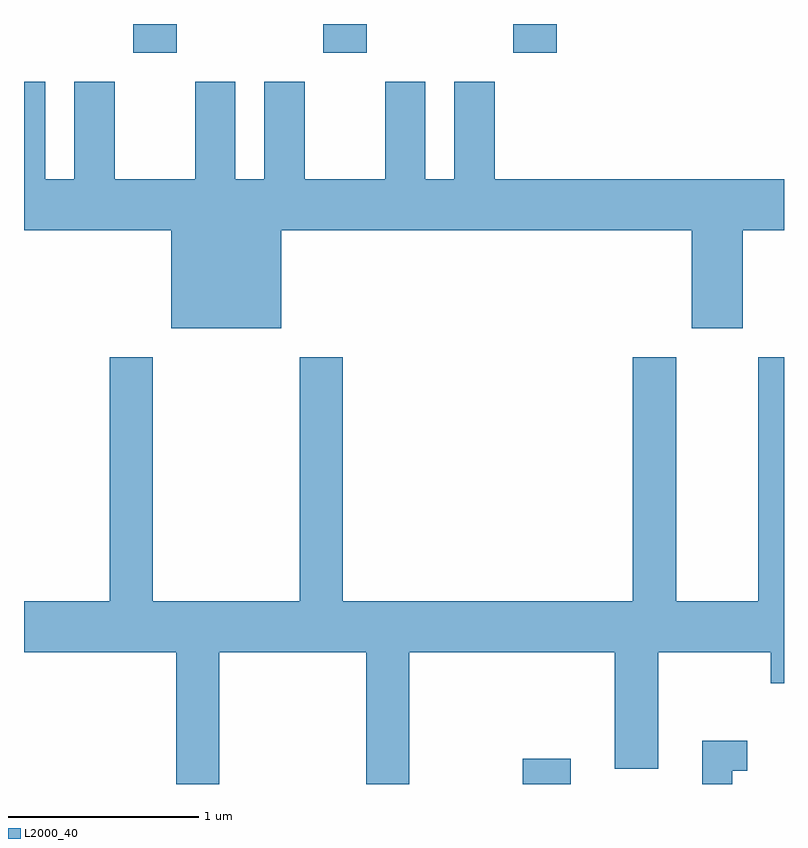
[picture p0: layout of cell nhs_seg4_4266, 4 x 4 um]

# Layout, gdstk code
import gdstk
lib = gdstk.Library(unit=1e-6, precision=1e-09)
def R(c, l, rs):  # rectangles x0, y0, x1, y1
    for r in rs: c.add(gdstk.rectangle(r[:2], r[2:], *l))
def A(c, l, x, y, w, h, nx, ny, dx, dy):  # array of equal rectangles
    R(c, l, [(x+i*dx, y+j*dy, x+i*dx+w, y+j*dy+h) for i in range(nx) for j in range(ny)])
def P(c, l, *ps):  # polygons
    for p in ps: c.add(gdstk.Polygon(p, *l))
L2000_40 = (2000, 40)

nhs_seg4_4266 = lib.new_cell('nhs_seg4_4266')
A(nhs_seg4_4266, L2000_40, 310.186, 1357.831, 0.228, 0.151, 3, 1, 1, 0)
R(nhs_seg4_4266, L2000_40, [(312.236,1353.982,312.489,1354.114)])
P(nhs_seg4_4266, L2000_40, [(310.964,1356.896),(313.126,1356.896),(313.126,1356.381),(313.394,1356.381),(313.394,1356.896),(313.611,1356.896),(313.611,1357.164),(312.089,1357.164),(312.089,1357.679),(311.876,1357.679),(311.876,1357.164),(311.724,1357.164),(311.724,1357.679),(311.511,1357.679),(311.511,1357.164),(311.089,1357.164),(311.089,1357.679),(310.876,1357.679),(310.876,1357.164),(310.724,1357.164),(310.724,1357.679),(310.511,1357.679),(310.511,1357.164),(310.089,1357.164),(310.089,1357.679),(309.876,1357.679),(309.876,1357.164),(309.724,1357.164),(309.724,1357.679),(309.611,1357.679),(309.611,1356.896),(310.386,1356.896),(310.386,1356.381),(310.964,1356.381)],
  [(310.639,1354.676),(311.411,1354.676),(311.411,1353.982),(311.639,1353.982),(311.639,1354.676),(312.721,1354.676),(312.721,1354.061),(312.949,1354.061),(312.949,1354.676),(313.541,1354.676),(313.541,1354.511),(313.611,1354.511),(313.611,1356.229),(313.476,1356.229),(313.476,1354.944),(313.044,1354.944),(313.044,1356.229),(312.816,1356.229),(312.816,1354.944),(311.289,1354.944),(311.289,1356.229),(311.061,1356.229),(311.061,1354.944),(310.289,1354.944),(310.289,1356.229),(310.061,1356.229),(310.061,1354.944),(309.611,1354.944),(309.611,1354.676),(310.411,1354.676),(310.411,1353.982),(310.639,1353.982)],
  [(313.339,1354.051),(313.418,1354.051),(313.418,1354.209),(313.181,1354.209),(313.181,1353.982),(313.339,1353.982)])

lib.write_gds('nhs_seg4_4266.gds')
